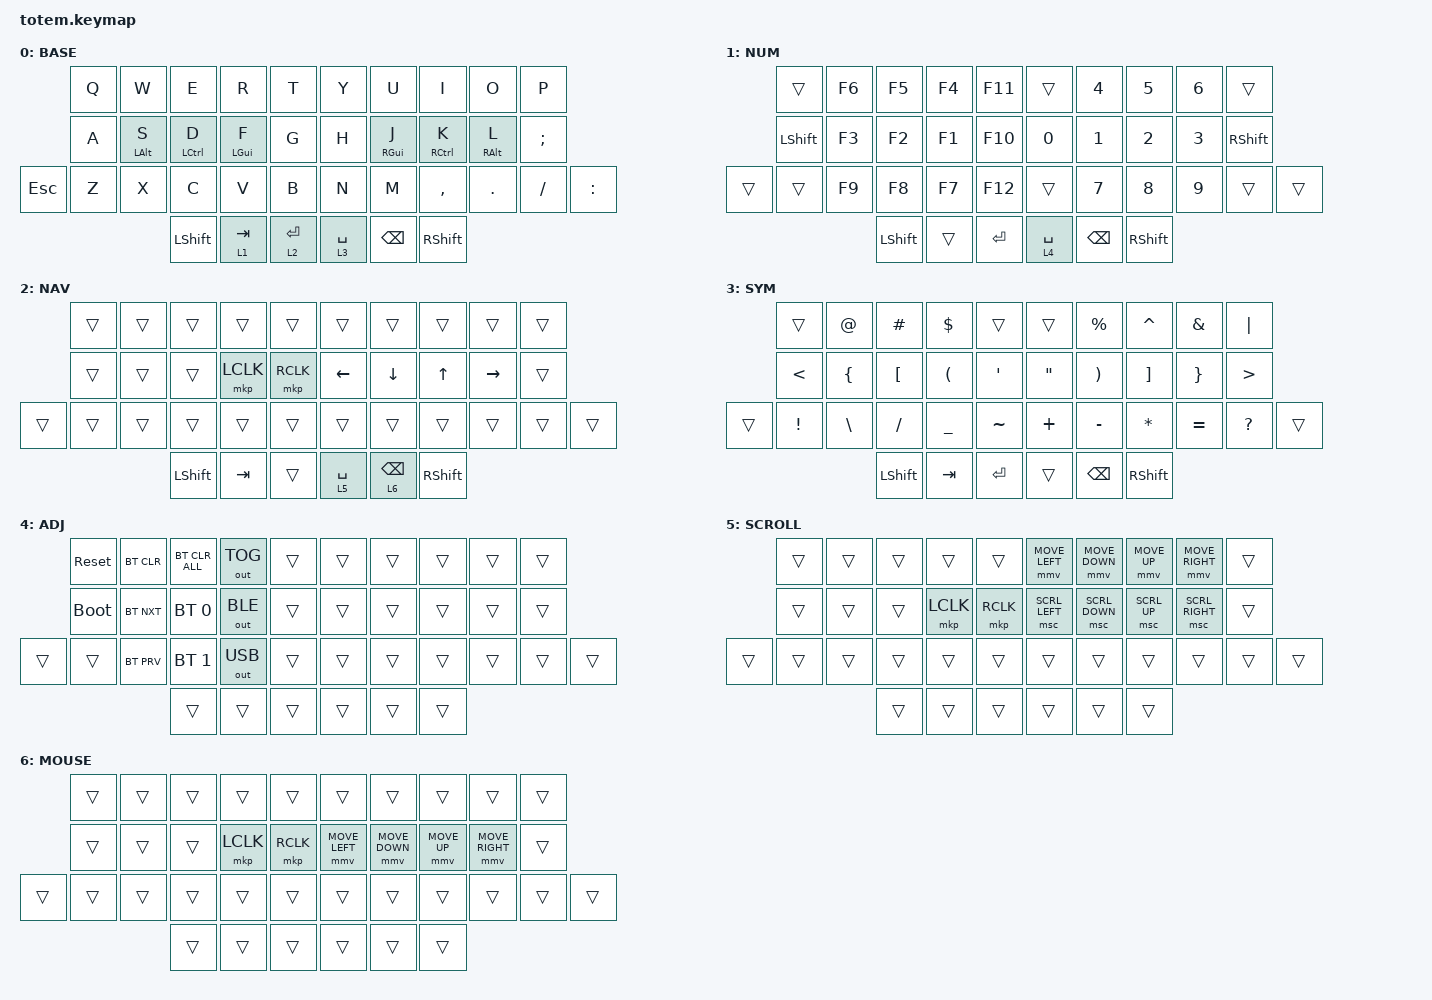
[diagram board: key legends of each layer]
//
//                                                        ▀▀▀▀▀     ▀▀▀▀▀          ▀▀█▀▀
//                                                        ▄▀▀▀▄  ▄  ▄▀▀▀▄  ▄  ▄▀▀▀▄  █  ▄▀▀▀▄
//                                                        █   █  █  █   █  █  █   █  █  █   █
//                                                         ▀▀▀   █   ▀▀▀   █   ▀▀▀   ▀   ▀▀▀
//                                                               █      ▄▄▄█▄▄▄    █   █  
//                                                               ▀      █  █  █     █▄█
//                                                             ▀▀▀▀▀    █  █  █      ▀
//                                                                      ▀  ▀  ▀
//
// ▄▄▄▄▄▄▄▄▄▄▄▄▄▄▄▄▄▄▄▄▄▄▄▄▄▄▄▄▄▄▄▄▄▄▄▄▄▄▄▄▄▄▄▄▄▄▄▄▄▄▄▄▄▄▄▄▄▄▄▄▄▄▄▄▄▄▄▄▄▄▄▄▄▄▄▄▄▄▄▄▄▄▄▄▄▄▄▄▄▄▄▄▄▄▄▄▄▄▄▄▄▄▄▄▄▄▄▄▄▄▄▄▄▄▄▄▄▄▄▄▄▄▄▄▄▄▄▄▄▄▄▄▄▄▄▄▄▄▄▄▄▄▄▄▄▄▄▄▄

#include <behaviors.dtsi>
#include <dt-bindings/zmk/bt.h>
#include <dt-bindings/zmk/keys.h>
#include <dt-bindings/zmk/outputs.h>
#include <dt-bindings/zmk/pointing.h>

#define BASE 0
#define NUM 1
#define NAV 2
#define SYM 3
#define ADJ 4
#define SCROLL 5
#define MOUSE 6

&mt {
    quick-tap-ms = <100>;
    global-quick-tap;
    flavor = "tap-preferred";
    tapping-term-ms = <200>;
};

/ {
    combos {
        compatible = "zmk,combos";

        combo_esc {
            timeout-ms = <50>;
            key-positions = <0 1>;
            bindings = <&kp ESC>;
        };

        //           combo_tvp {
        //                timeout-ms = <100>;
        //                key-positions = <11 12 13>;
        //                bindings = <&tog TVP1>;
        //            };
    };

    //    macros {
    //        gif: gif {
    //            label = "giphy";
    //            compatible = "zmk,behavior-macro";
    //            #binding-cells = <0>;
    //            bindings
    //                = <&macro_press &kp LSHFT>
    //                , <&macro_tap &kp N2>
    //                , <&macro_release &kp LSHFT>
    //                , <&macro_tap &kp G &kp I &kp F>
    //                ;
    //        };
    //    };

    keymap {
        compatible = "zmk,keymap";

        // ▄▄▄▄▄▄▄▄▄▄▄▄▄▄▄▄▄▄▄▄▄▄▄▄▄▄▄▄▄▄▄▄▄▄▄▄▄▄▄▄▄▄▄▄▄▄▄▄▄▄▄▄▄▄▄▄▄▄▄▄▄▄▄▄▄▄▄▄▄▄▄▄▄▄▄▄▄▄▄▄▄▄▄▄▄▄▄▄▄▄▄▄▄▄▄▄▄▄▄▄▄▄▄▄▄▄▄▄▄▄▄▄▄▄▄▄▄▄▄▄▄▄▄▄▄▄▄▄▄▄▄▄▄▄▄▄▄▄▄▄▄▄▄▄▄▄▄▄▄

        base_layer {
            // ┏━━━━━━━━━━━━━━━━━━━━━━━━━━━━━━━━━━━━━━━┓

            label = "BASE";

            // ┗━━━━━━━━━━━━━━━━━━━━━━━━━━━━━━━━━━━━━━━┛
            //             ┏━━━━━━━━━━━┳━━━━━━━━━━━┳━━━━━━━━━━━┳━━━━━━━━━━━┳━━━━━━━━━━━┓   ┏━━━━━━━━━━━┳━━━━━━━━━━━┳━━━━━━━━━━━┳━━━━━━━━━━━┳━━━━━━━━━━━┓
            //             ┃     Q     ┃     W     ┃     E     ┃     R     ┃     T     ┃   ┃     Y     ┃     U     ┃     I     ┃     O     ┃     P     ┃
            //             ┣━━━━━━━━━━━╋━━━━━━━━━━━╋━━━━━━━━━━━╋━━━━━━━━━━━╋━━━━━━━━━━━┫   ┣━━━━━━━━━━━╋━━━━━━━━━━━╋━━━━━━━━━━━╋━━━━━━━━━━━╋━━━━━━━━━━━┫
            //             ┃     A     ┃     S     ┃     D     ┃     F     ┃     G     ┃   ┃     H     ┃     J     ┃     K     ┃     L     ┃     ;     ┃
            // ┏━━━━━━━━━━━╋━━━━━━━━━━━╋━━━━━━━━━━━╋━━━━━━━━━━━╋━━━━━━━━━━━╋━━━━━━━━━━━┫   ┣━━━━━━━━━━━╋━━━━━━━━━━━╋━━━━━━━━━━━╋━━━━━━━━━━━╋━━━━━━━━━━━╋━━━━━━━━━━━┓
            // ┃   ESCAPE  ┃     Z     ┃     X     ┃     C     ┃     V     ┃     B     ┃   ┃     N     ┃     M     ┃     ,     ┃     .     ┃     /     ┃     :     ┃
            // ┗━━━━━━━━━━━┻━━━━━━━━━━━┻━━━━━━━━━━━╋━━━━━━━━━━━╋━━━━━━━━━━━╋━━━━━━━━━━━┫   ┣━━━━━━━━━━━╋━━━━━━━━━━━╋━━━━━━━━━━━╋━━━━━━━━━━━┻━━━━━━━━━━━┻━━━━━━━━━━━┛
            //                                     ┃   SHIFT   ┃    TAB    ┃   ENTER   ┃   ┃    SPC    ┃   BSPC    ┃   SHIFT   ┃
            //                                     ┗━━━━━━━━━━━┻━━━━━━━━━━━┻━━━━━━━━━━━┛   ┗━━━━━━━━━━━┻━━━━━━━━━━━┻━━━━━━━━━━━┛

            bindings = <
         &kp Q  &kp W       &kp E        &kp R       &kp T        &kp Y        &kp U       &kp I        &kp O       &kp P
         &kp A  &mt LALT S  &mt LCTRL D  &mt LGUI F  &kp G        &kp H        &mt RGUI J  &mt RCTRL K  &mt RALT L  &kp SEMICOLON
&kp ESC  &kp Z  &kp X       &kp C        &kp V       &kp B        &kp N        &kp M       &kp COMMA    &kp DOT     &kp SLASH      &kp COLON
                            &kp LSHIFT   &lt 1 TAB   &lt 2 RET    &lt 3 SPACE  &kp BSPC    &kp RSHIFT
            >;
        };

        num_layer {
            label = "NUM";
            bindings = <
        &trans          &kp F6  &kp F5      &kp F4  &kp F11      &trans       &kp N4         &kp N5      &kp N6  &trans
        &kp LEFT_SHIFT  &kp F3  &kp F2      &kp F1  &kp F10      &kp N0       &kp N1         &kp N2      &kp N3  &kp RIGHT_SHIFT
&trans  &trans          &kp F9  &kp F8      &kp F7  &kp F12      &trans       &kp N7         &kp N8      &kp N9  &trans           &trans
                                &kp LSHIFT  &trans  &kp ENTER    &lt 4 SPACE  &kp BACKSPACE  &kp RSHIFT
            >;
        };

        nav_layer {
            label = "NAV";
            bindings = <
        &trans  &trans  &trans          &trans     &trans       &trans          &trans           &trans           &trans           &trans
        &trans  &trans  &trans          &mkp LCLK  &mkp RCLK    &kp LEFT_ARROW  &kp DOWN_ARROW   &kp UP_ARROW     &kp RIGHT_ARROW  &trans
&trans  &trans  &trans  &trans          &trans     &trans       &trans          &trans           &trans           &trans           &trans  &trans
                        &kp LEFT_SHIFT  &kp TAB    &trans       &lt 5 SPACE     &lt 6 BACKSPACE  &kp RIGHT_SHIFT
            >;
        };

        sym_layer {
            label = "SYM";
            bindings = <
        &trans           &kp AT_SIGN     &kp POUND         &kp DOLLAR            &trans              &trans             &kp PERCENT            &kp CARET          &kp AMPERSAND    &kp PIPE
        &kp LESS_THAN    &kp LEFT_BRACE  &kp LEFT_BRACKET  &kp LEFT_PARENTHESIS  &kp SINGLE_QUOTE    &kp DOUBLE_QUOTES  &kp RIGHT_PARENTHESIS  &kp RIGHT_BRACKET  &kp RIGHT_BRACE  &kp GREATER_THAN
&trans  &kp EXCLAMATION  &kp BACKSLASH   &kp SLASH         &kp UNDERSCORE        &kp TILDE           &kp PLUS           &kp MINUS              &kp ASTERISK       &kp EQUAL        &kp QUESTION      &trans
                                         &kp LEFT_SHIFT    &kp TAB               &kp ENTER           &trans             &kp BACKSPACE          &kp RIGHT_SHIFT
            >;
        };

        adjust_layer {
            // ┏━━━━━━━━━━━━━━━━━━━━━━━━━━━━━━━━━━━━━━━┓

            label = "ADJ";

            // ┗━━━━━━━━━━━━━━━━━━━━━━━━━━━━━━━━━━━━━━━┛
            //             ┏━━━━━━━━━━━┳━━━━━━━━━━━┳━━━━━━━━━━━┳━━━━━━━━━━━┳━━━━━━━━━━━┓   ┏━━━━━━━━━━━┳━━━━━━━━━━━┳━━━━━━━━━━━┳━━━━━━━━━━━┳━━━━━━━━━━━┓
            //             ┃   RESET   ┃ BT CLEAR  ┃ BT_CL_ALL ┃  OUT TOG  ┃           ┃   ┃           ┃    F7     ┃    F8     ┃    F9     ┃    F12    ┃
            //             ┣━━━━━━━━━━━╋━━━━━━━━━━━╋━━━━━━━━━━━╋━━━━━━━━━━━╋━━━━━━━━━━━┫   ┣━━━━━━━━━━━╋━━━━━━━━━━━╋━━━━━━━━━━━╋━━━━━━━━━━━╋━━━━━━━━━━━┫
            //             ┃ BOOTLOAD  ┃ BT NEXT   ┃ BT_SEL 0  ┃  OUT BLE  ┃           ┃   ┃           ┃    F4     ┃    F5     ┃    F6     ┃    F11    ┃
            // ┏━━━━━━━━━━━╋━━━━━━━━━━━╋━━━━━━━━━━━╋━━━━━━━━━━━╋━━━━━━━━━━━╋━━━━━━━━━━━┫   ┣━━━━━━━━━━━╋━━━━━━━━━━━╋━━━━━━━━━━━╋━━━━━━━━━━━╋━━━━━━━━━━━╋━━━━━━━━━━━┓
            // ┃           ┃           ┃ BT PREV   ┃ BT_SEL 1  ┃  OUT USB  ┃           ┃   ┃           ┃    F1     ┃    F2     ┃    F3     ┃    F10    ┃           ┃
            // ┗━━━━━━━━━━━┻━━━━━━━━━━━┻━━━━━━━━━━━╋━━━━━━━━━━━╋━━━━━━━━━━━╋━━━━━━━━━━━┫   ┣━━━━━━━━━━━╋━━━━━━━━━━━╋━━━━━━━━━━━╋━━━━━━━━━━━┻━━━━━━━━━━━┻━━━━━━━━━━━┛
            //                                     ┃           ┃           ┃           ┃   ┃           ┃           ┃           ┃
            //                                     ┗━━━━━━━━━━━┻━━━━━━━━━━━┻━━━━━━━━━━━┛   ┗━━━━━━━━━━━┻━━━━━━━━━━━┻━━━━━━━━━━━┛

            bindings = <
        &sys_reset   &bt BT_CLR  &bt BT_CLR_ALL  &out OUT_TOG  &trans    &trans  &trans  &trans  &trans  &trans
        &bootloader  &bt BT_NXT  &bt BT_SEL 0    &out OUT_BLE  &trans    &trans  &trans  &trans  &trans  &trans
&trans  &trans       &bt BT_PRV  &bt BT_SEL 1    &out OUT_USB  &trans    &trans  &trans  &trans  &trans  &trans  &trans
                                 &trans          &trans        &trans    &trans  &trans  &trans
            >;
        };

        scroll_layer {
            label = "SCROLL";
            bindings = <
        &trans  &trans  &trans  &trans     &trans       &mmv MOVE_LEFT  &mmv MOVE_DOWN  &mmv MOVE_UP  &mmv MOVE_RIGHT  &trans
        &trans  &trans  &trans  &mkp LCLK  &mkp RCLK    &msc SCRL_LEFT  &msc SCRL_DOWN  &msc SCRL_UP  &msc SCRL_RIGHT  &trans
&trans  &trans  &trans  &trans  &trans     &trans       &trans          &trans          &trans        &trans           &trans  &trans
                        &trans  &trans     &trans       &trans          &trans          &trans
            >;
        };

        mouse_layer {
            label = "MOUSE";
            bindings = <
        &trans  &trans  &trans  &trans     &trans       &trans          &trans          &trans        &trans           &trans
        &trans  &trans  &trans  &mkp LCLK  &mkp RCLK    &mmv MOVE_LEFT  &mmv MOVE_DOWN  &mmv MOVE_UP  &mmv MOVE_RIGHT  &trans
&trans  &trans  &trans  &trans  &trans     &trans       &trans          &trans          &trans        &trans           &trans  &trans
                        &trans  &trans     &trans       &trans          &trans          &trans
            >;
        };
    };
};
